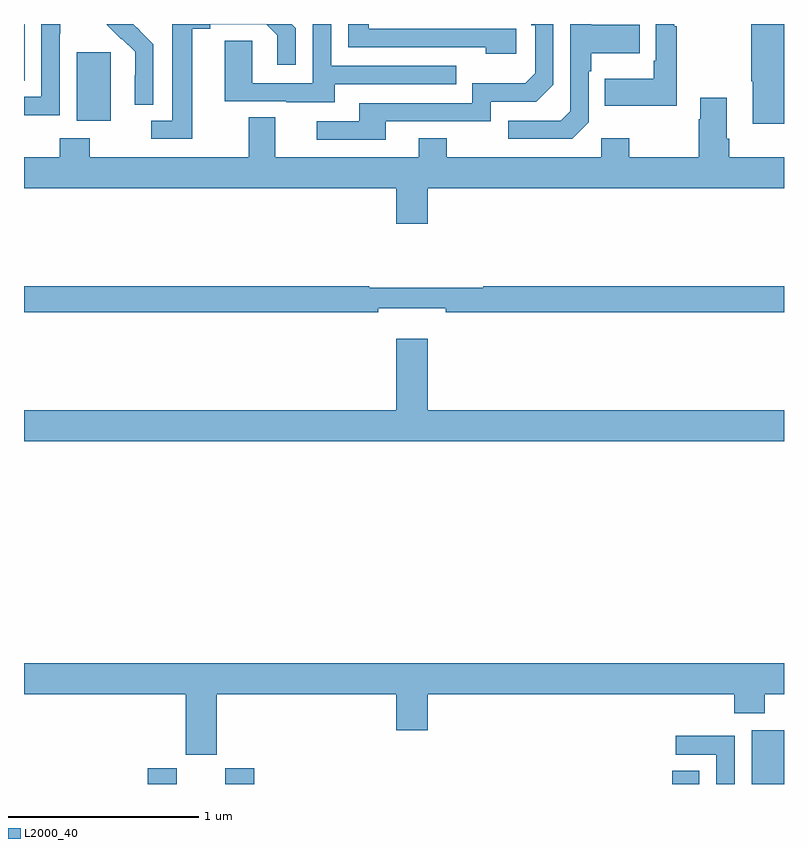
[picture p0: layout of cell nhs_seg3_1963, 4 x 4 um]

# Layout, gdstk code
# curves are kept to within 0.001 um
import gdstk
lib = gdstk.Library(unit=1e-6, precision=1e-09)
def R(c, l, rs):  # rectangles x0, y0, x1, y1
    for r in rs: c.add(gdstk.rectangle(r[:2], r[2:], *l))
def P(c, l, *ps):  # polygons
    for p in ps: c.add(gdstk.Polygon(p, *l))
L2000_40 = (2000, 40)

nhs_seg3_1963 = lib.new_cell('nhs_seg3_1963')
R(nhs_seg3_1963, L2000_40, [(211.652,744.4,211.804,744.483), (212.06,744.4,212.213,744.483), (214.412,744.4,214.555,744.47), (214.829,744.4,215,744.682), (211.277,747.89,211.456,748.251), (211,748.102,211.003,748.4)])
P(nhs_seg3_1963, L2000_40, [(214.435,748.387),(214.423,748.387),(214.423,748.4),(214.326,748.4),(214.326,748.207),(214.314,748.207),(214.314,748.111),(214.057,748.111),(214.057,747.971),(214.435,747.971)],
  [(213.972,747.882),(213.972,748.151),(213.985,748.151),(213.985,748.247),(214.241,748.247),(214.241,748.395),(213.985,748.395),(213.985,748.4),(213.876,748.4),(213.876,747.942),(213.825,747.891),(213.549,747.891),(213.549,747.795),(213.885,747.795)],
  [(211.885,748.376),(211.981,748.376),(211.981,748.398),(212.276,748.398),(212.333,748.341),(212.333,748.185),(212.43,748.185),(212.43,748.378),(212.408,748.4),(211.78,748.4),(211.781,747.891),(211.671,747.891),(211.671,747.795),(211.885,747.795)],
  [(212.635,748.083),(213.275,748.083),(213.275,748.179),(212.616,748.179),(212.616,748.4),(212.52,748.4),(212.52,748.089),(212.202,748.089),(212.202,748.313),(212.057,748.313),(212.057,747.993),(212.381,747.993),(212.381,747.989),(212.635,747.989)],
  [(213.592,748.374),(212.815,748.374),(212.815,748.4),(212.706,748.4),(212.706,748.278),(213.431,748.278),(213.431,748.244),(213.592,748.244)],
  [(211.68,748.294),(211.576,748.4),(211.435,748.4),(211.435,748.397),(211.512,748.32),(211.515,748.323),(211.586,748.253),(211.586,748.13),(211.584,748.13),(211.584,747.976),(211.68,747.976)],
  [(211.188,748.348),(211.191,748.348),(211.191,748.4),(211.092,748.4),(211.092,748.017),(211,748.017),(211,747.919),(211.188,747.919)],
  [(212.905,747.888),(213.456,747.888),(213.456,747.99),(213.696,747.99),(213.786,748.08),(213.786,748.4),(213.67,748.4),(213.67,748.394),(213.69,748.394),(213.69,748.14),(213.637,748.087),(213.36,748.087),(213.36,747.984),(212.765,747.984),(212.765,747.888),(212.541,747.888),(212.541,747.792),(212.905,747.792)],
  [(215,748.4),(214.828,748.4),(214.828,748.099),(214.835,748.099),(214.835,747.876),(215,747.876)],
  [(213.124,747.536),(215,747.536),(215,747.7),(214.712,747.7),(214.712,747.796),(214.699,747.796),(214.699,748.012),(214.559,748.012),(214.559,747.899),(214.552,747.899),(214.552,747.7),(214.185,747.7),(214.185,747.799),(214.038,747.799),(214.038,747.7),(213.225,747.7),(213.225,747.799),(213.077,747.799),(213.077,747.7),(212.323,747.7),(212.323,747.908),(212.183,747.908),(212.183,747.7),(211.347,747.7),(211.347,747.799),(211.187,747.799),(211.187,747.7),(211,747.7),(211,747.536),(212.96,747.536),(212.96,747.348),(213.124,747.348)],
  [(212.864,746.903),(213.22,746.903),(213.22,746.884),(215,746.884),(215,747.02),(213.418,747.02),(213.418,747.013),(212.818,747.013),(212.818,747.02),(211,747.02),(211,746.884),(212.864,746.884)],
  [(215,746.368),(213.124,746.368),(213.124,746.743),(212.96,746.743),(212.96,746.368),(211,746.368),(211,746.204),(215,746.204)],
  [(212.014,744.872),(212.96,744.872),(212.96,744.684),(213.124,744.684),(213.124,744.872),(214.739,744.872),(214.739,744.773),(214.899,744.773),(214.899,744.872),(215,744.872),(215,745.036),(211,745.036),(211,744.872),(211.85,744.872),(211.85,744.555),(212.014,744.555)],
  [(214.74,744.654),(214.431,744.654),(214.431,744.555),(214.644,744.555),(214.644,744.4),(214.74,744.4)])

lib.write_gds('nhs_seg3_1963.gds')
